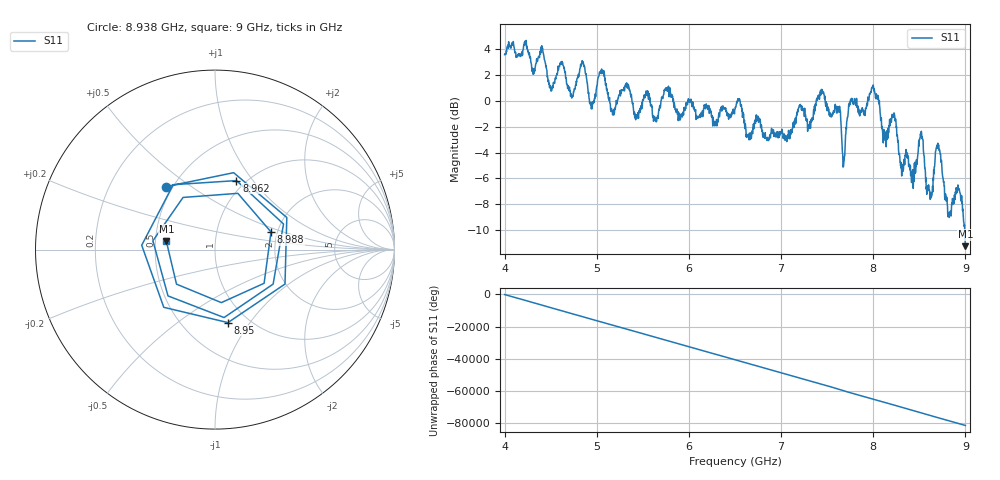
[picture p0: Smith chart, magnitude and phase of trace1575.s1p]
! Created with skrf 1.8.0 (http://scikit-rf.org).
# Hz S RI R 50.0
!freq ReS11 ImS11
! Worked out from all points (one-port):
!   1601 points, 4 GHz to 9 GHz, reference 50 ohm
!   lowest |S11| = -11.2 dB at 9 GHz (marker M1), VSWR 1.76, Z = 28.6 + j2.79 ohm
!   |S11| at or under -10 dB: 8.992322 GHz to end of sweep
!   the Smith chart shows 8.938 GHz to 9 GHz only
!   S11 on the Smith chart (normalised r, x): 8.938 GHz: 0.46, +0.40; 8.95 GHz: 0.81, -0.79; 8.962 GHz: 0.91, +0.83; 8.988 GHz: 1.85, +0.41; 9 GHz: 0.57, +0.06
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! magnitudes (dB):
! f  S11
! 4 GHz  3.5
! 4.406 GHz  4.0
! 4.506 GHz  0.8
! 4.625 GHz  2.8
! 4.722 GHz  0.4
! 4.844 GHz  2.9
! 4.941 GHz  -0.6
! 5.05 GHz  2.2
! 5.169 GHz  -0.8
! 5.25 GHz  0.5
! 5.875 GHz  -1.1
! 6.5 GHz  -0.7
! 7.125 GHz  -2.2
! 7.444 GHz  0.8
! 7.619 GHz  -0.6
! 7.681 GHz  -4.8
! 7.75 GHz  -0.1
! 7.997 GHz  1.1
! 8.375 GHz  -4.2
! 8.519 GHz  -2.4
! 8.622 GHz  -7.1
! 8.703 GHz  -3.3
! 8.822 GHz  -8.6
! 8.938 GHz  -7.1
! 8.95 GHz  -7.7
! 8.962 GHz  -7.9
! 8.988 GHz  -9.7
! 9 GHz  -11.2
